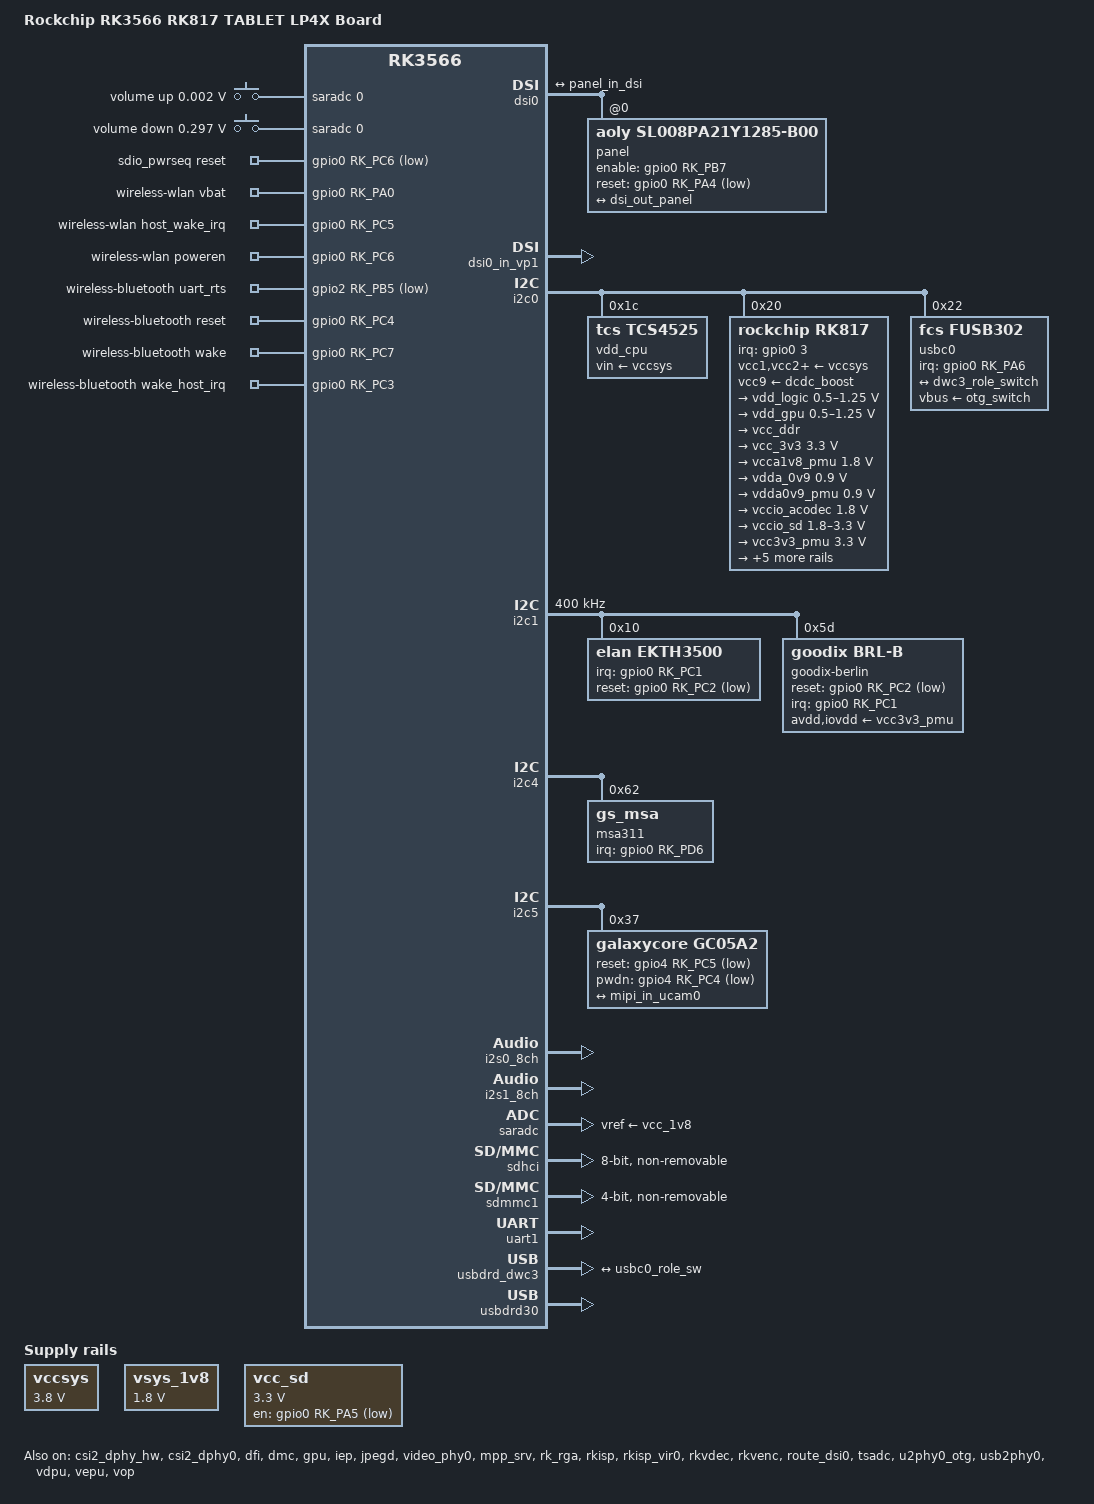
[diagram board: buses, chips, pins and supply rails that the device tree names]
// SPDX-License-Identifier: (GPL-2.0+ OR MIT)
/*
 * Copyright (c) 2020 Rockchip Electronics Co., Ltd.
 *
 */

/dts-v1/;

#include <dt-bindings/gpio/gpio.h>
#include <dt-bindings/pinctrl/rockchip.h>
#include <dt-bindings/input/rk-input.h>
#include <dt-bindings/sensor-dev.h>
#include <dt-bindings/display/drm_mipi_dsi.h>
#include <dt-bindings/usb/pd.h>
#include "rk3566.dtsi"
#include "rk3568-android.dtsi"

/ {
	model = "Rockchip RK3566 RK817 TABLET LP4X Board";
	compatible = "rockchip,rk3566-rk817-tablet", "rockchip,rk3566";

	adc_keys: adc-keys {
		compatible = "adc-keys";
		io-channels = <&saradc 0>;
		io-channel-names = "buttons";
		keyup-threshold-microvolt = <1800000>;
		poll-interval = <100>;

		vol-up-key {
			label = "volume up";
			linux,code = <KEY_VOLUMEUP>;
			press-threshold-microvolt = <1750>;
		};

		vol-down-key {
			label = "volume down";
			linux,code = <KEY_VOLUMEDOWN>;
			press-threshold-microvolt = <297500>;
		};
	};

	backlight: backlight {
	    status = "disabled"; 
		compatible = "pwm-backlight";
		pwms = <&pwm4 0 25000 0>;
		brightness-levels = <
			  0  20  20  21  21  22  22  23
			 23  24  24  25  25  26  26  27
			 27  28  28  29  29  30  30  31
			 31  32  32  33  33  34  34  35
			 35  36  36  37  37  38  38  39
			 40  41  42  43  44  45  46  47
			 48  49  50  50  51  52  53  54
			 55  55  56  57  58  59  60  61
			 62  63  64  64  65  65  66  67
			 68  69  70  71  71  72  73  74
			 75  76  77  78  79  79  80  81
			 82  83  84  85  86  86  87  88
			 89  90  91  92  93  94  94  95
			 96  97  98  99 100 101 101 102
			103 104 105 106 107 107 108 109
			110 111 112 113 114 115 115 116
			117 118 119 120 121 122 123 123
			124 125 126 127 128 129 130 130
			131 132 133 134 135 136 136 137
			138 139 140 141 142 143 143 144
			145 146 147 147 148 149 150 151
			152 153 154 155 156 156 157 158
			159 157 158 159 160 161 162 162
			163 164 165 166 167 168 169 169
			170 171 172 173 174 175 175 176
			177 178 179 180 181 182 182 183
			184 185 186 187 188 189 190 190
			191 192 193 194 195 196 197 197
			198 199 200 201 202 203 204 204
			205 206 207 208 209 209 210 211
			212 213 213 214 214 215 215 216
			216 217 217 218 218 219 219 220
		>;
		default-brightness-level = <200>;
	};
	charge-animation {
		compatible = "rockchip,uboot-charge";
		rockchip,uboot-charge-on = <0>;
		rockchip,android-charge-on = <1>;
		rockchip,uboot-exit-charge-auto = <1>;
		rockchip,uboot-low-power-voltage = <3430>;
		rockchip,uboot-exit-charge-level = <2>;
		status = "okay";
		};

	// flash_rgb13h: flash-rgb13h {
	// 	status = "disabled";
	// 	compatible = "led,rgb13h";
	// 	label = "gpio-flash";
	// 	pinctrl-names = "default";
	// 	pinctrl-0 = <&flash_led_gpios>;
	// 	led-max-microamp = <20000>;
	// 	flash-max-microamp = <20000>;
	// 	flash-max-timeout-us = <1000000>;
	// 	enable-gpio = <&gpio4 6 GPIO_ACTIVE_HIGH>;
	// 	rockchip,camera-module-index = <0>;
	// 	rockchip,camera-module-facing = "back";
	// };

	hdmi_sound: hdmi-sound {
		compatible = "simple-audio-card";
		simple-audio-card,format = "i2s";
		simple-audio-card,mclk-fs = <128>;
		simple-audio-card,name = "rockchip,hdmi";
		status = "disabled";

		simple-audio-card,cpu {
				sound-dai = <&i2s0_8ch>;
		};
		simple-audio-card,codec {
				sound-dai = <&hdmi>;
		};
	};

	vccsys: vccsys {
		compatible = "regulator-fixed";
		regulator-name = "vcc3v8_sys";
		regulator-always-on;
		regulator-boot-on;
		regulator-min-microvolt = <3800000>;
		regulator-max-microvolt = <3800000>;
	};
	
	vsys_1v8: vsys_1v8 {
		compatible = "regulator-fixed";
		regulator-name = "vcc3v8_sys";
		regulator-always-on;
		regulator-boot-on;
		regulator-min-microvolt = <1800000>;
		regulator-max-microvolt = <1800000>;
	};

	vcc_camera: vcc-camera-regulator {
		compatible = "regulator-fixed";
		gpio = <&gpio4 RK_PB1 GPIO_ACTIVE_HIGH>;
		pinctrl-names = "default";
		pinctrl-0 = <&camera_rst>;
		regulator-name = "vcc_camera";
		enable-active-high;
		regulator-always-on;
		regulator-boot-on;
		status = "disabled";
	};

	rk817-sound {
		compatible = "simple-audio-card";
		simple-audio-card,format = "i2s";
		simple-audio-card,name = "rockchip,rk817-codec";
		simple-audio-card,mclk-fs = <256>;

		simple-audio-card,cpu {
			sound-dai = <&i2s1_8ch>;
		};
		simple-audio-card,codec {
			sound-dai = <&rk817_codec>;
		};
	};

	rk_headset: rk-headset {
		compatible = "rockchip_headset";
		headset_gpio = <&gpio4 RK_PC4 GPIO_ACTIVE_LOW>;
		pinctrl-names = "default";
		pinctrl-0 = <&hp_det>;
		io-channels = <&saradc 2>;
		status = "disabled";
	};

	sdio_pwrseq: sdio-pwrseq {
		compatible = "mmc-pwrseq-simple";
		clocks = <&rk817 1>;
		clock-names = "ext_clock";
		pinctrl-names = "default";
		pinctrl-0 = <&wifi_enable_h>;

		/*
		 * On the module itself this is one of these (depending
		 * on the actual card populated):
		 * - SDIO_RESET_L_WL_REG_ON
		 * - PDN (power down when low)
		 */
		post-power-on-delay-ms = <200>;
		reset-gpios = <&gpio0 RK_PC6 GPIO_ACTIVE_LOW>;
	};

	vcc_sd: vcc-sd {
		compatible = "regulator-gpio";
		enable-active-low;
		enable-gpio = <&gpio0 RK_PA5 GPIO_ACTIVE_LOW>;
		regulator-min-microvolt = <3300000>;
		regulator-max-microvolt = <3300000>;
		pinctrl-names = "default";
		pinctrl-0 = <&vcc_sd_h>;
		regulator-name = "vcc_sd";
		states = <3300000 0x0
			3300000 0x1>;
	};

	wireless-wlan {
		compatible = "wlan-platdata";
		rockchip,grf = <&grf>;
		wifi_chip_type = "ap6256";
		pinctrl-names = "default";
		pinctrl-0 = <&wifi_host_wake_irq>;

		WIFI,vbat_gpio = <&gpio0 RK_PA0 GPIO_ACTIVE_HIGH>;
		WIFI,host_wake_irq = <&gpio0 RK_PC5 GPIO_ACTIVE_HIGH>;
		WIFI,poweren_gpio = <&gpio0 RK_PC6 GPIO_ACTIVE_HIGH>;

		//sdio_vref = <1800>;
		status = "okay";
	};

	wireless-bluetooth {
		compatible = "bluetooth-platdata";
		clocks = <&rk817 1>;
		clock-names = "ext_clock";
		wifi-bt-power-toggle;
		uart_rts_gpios = <&gpio2 RK_PB5 GPIO_ACTIVE_LOW>;
		pinctrl-names = "default", "rts_gpio";
		pinctrl-0 = <&uart1m0_rtsn>;
		pinctrl-1 = <&uart1_gpios>;
		BT,reset_gpio    = <&gpio0 RK_PC4 GPIO_ACTIVE_HIGH>;
		BT,wake_gpio     = <&gpio0 RK_PC7 GPIO_ACTIVE_HIGH>;
		BT,wake_host_irq = <&gpio0 RK_PC3 GPIO_ACTIVE_HIGH>;
		status = "okay";
	};
};

&bus_npu {
	bus-supply = <&vdd_logic>;
	pvtm-supply = <&vdd_cpu>;
	status = "disabled";
};

&cpu0 {
	cpu-supply = <&vdd_cpu>;
};

&csi2_dphy_hw {
	status = "okay";
};

&csi2_dphy0 {
	status = "okay";

	ports {
		#address-cells = <1>;
		#size-cells = <0>;
		port@0 {
			reg = <0>;
			#address-cells = <1>;
			#size-cells = <0>;

			mipi_in_ucam0: endpoint@0 {
				reg = <0>;
				remote-endpoint = <&gc2607_out>;
				data-lanes = <1 2>;
			};

			// mipi_in_ucam1: endpoint@1 {
			// 	reg = <1>;
			// 	remote-endpoint = <&ov8858_out>;
			// 	data-lanes = <1 2 3 4>;
			// };
		};
		port@1 {
			reg = <1>;
			#address-cells = <1>;
			#size-cells = <0>;

			csidphy0_out: endpoint@0 {
				reg = <0>;
				remote-endpoint = <&isp0_in>;
			};
		};
	};
};

&dfi {
	status = "okay";
};

&dmc {
	center-supply = <&vdd_logic>;
	status = "okay";
};

&dsi0 {
		status = "okay";
	//rockchip,lane-rate = <1000>;
	panel@0 {
		compatible = "aoly,sl008pa21y1285-b00", "simple-panel-dsi";
		reg = <0>;

		//backlight = <&backlight>;
		//power-supply=<&vcc_3v3>;
		
		enable-gpios = <&gpio0 RK_PB7 GPIO_ACTIVE_HIGH>;
		reset-gpios = <&gpio0 RK_PA4 GPIO_ACTIVE_LOW>;

		pinctrl-names = "default";
		pinctrl-0 = <&lcd_enable_gpio>, <&lcd_rst_gpio>;

		prepare-delay-ms = <120>;
		reset-delay-ms = <250>;
		init-delay-ms = <10>;
		stbyb-delay-ms = <120>;
		enable-delay-ms = <120>;
		disable-delay-ms = <120>;
		unprepare-delay-ms = <120>;

		width-mm = <229>;
		height-mm = <143>;

		dsi,flags = <(MIPI_DSI_MODE_VIDEO | MIPI_DSI_MODE_VIDEO_BURST |
			      MIPI_DSI_MODE_LPM | MIPI_DSI_MODE_EOT_PACKET)>;
		dsi,format = <MIPI_DSI_FMT_RGB888>;
		dsi,lanes = <4>;
		panel-init-sequence = [
		39 00 04 FF 98 81 03
		39 00 02 01 00
		39 00 02 02 00
		39 00 02 03 54
		39 00 02 04 14
		39 00 02 05 D4
		39 00 02 06 08
		39 00 02 07 01
		39 00 02 08 0E
		39 00 02 09 00
		39 00 02 0A 00
		39 00 02 0B 00
		39 00 02 0C 00
		39 00 02 0D 00
		39 00 02 0E 00
		39 00 02 0F 00
		39 00 02 10 00
		39 00 02 11 00
		39 00 02 12 00
		39 00 02 13 00
		39 00 02 14 00
		39 00 02 15 00
		39 00 02 16 00
		39 00 02 17 00
		39 00 02 18 00
		39 00 02 19 00
		39 00 02 1A 00
		39 00 02 1B 00
		39 00 02 1C 00
		39 00 02 1D 00
		39 00 02 1E 44
		39 00 02 1F 80
		39 00 02 20 03
		39 00 02 21 04
		39 00 02 22 00
		39 00 02 23 00
		39 00 02 24 00
		39 00 02 25 00
		39 00 02 26 00
		39 00 02 27 00
		39 00 02 28 77
		39 00 02 29 04
		39 00 02 2A 00
		39 00 02 2B 00
		39 00 02 2C 00
		39 00 02 2D 00
		39 00 02 2E 00
		39 00 02 2F 00
		39 00 02 30 00
		39 00 02 31 00
		39 00 02 32 00
		39 00 02 33 00
		39 00 02 34 04
		39 00 02 35 00
		39 00 02 36 00
		39 00 02 37 00
		39 00 02 38 3C
		39 00 02 39 00
		39 00 02 3A 40
		39 00 02 3B 40
		39 00 02 3C 00
		39 00 02 3D 00
		39 00 02 3E 00
		39 00 02 3F 00
		39 00 02 40 00
		39 00 02 41 00
		39 00 02 42 00
		39 00 02 43 00
		39 00 02 44 00
		39 00 02 50 01
		39 00 02 51 23
		39 00 02 52 45
		39 00 02 53 67
		39 00 02 54 89
		39 00 02 55 AB
		39 00 02 56 01
		39 00 02 57 23
		39 00 02 58 45
		39 00 02 59 67
		39 00 02 5A 89
		39 00 02 5B AB
		39 00 02 5C CD
		39 00 02 5D EF
		39 00 02 5E 11
		39 00 02 5F 01
		39 00 02 60 00
		39 00 02 61 08
		39 00 02 62 0A
		39 00 02 63 15
		39 00 02 64 14
		39 00 02 65 0C
		39 00 02 66 0D
		39 00 02 67 0E
		39 00 02 68 0F
		39 00 02 69 10
		39 00 02 6A 11
		39 00 02 6B 12
		39 00 02 6C 13
		39 00 02 6D 06
		39 00 02 6E 02
		39 00 02 6F 02
		39 00 02 70 02
		39 00 02 71 02
		39 00 02 72 02
		39 00 02 73 02
		39 00 02 74 02
		39 00 02 75 01
		39 00 02 76 00
		39 00 02 77 06
		39 00 02 78 0A
		39 00 02 79 15
		39 00 02 7A 14
		39 00 02 7B 0C
		39 00 02 7C 0D
		39 00 02 7D 0E
		39 00 02 7E 0F
		39 00 02 7F 10
		39 00 02 80 11
		39 00 02 81 12
		39 00 02 82 13
		39 00 02 83 08
		39 00 02 84 02
		39 00 02 85 02
		39 00 02 86 02
		39 00 02 87 02
		39 00 02 88 02
		39 00 02 89 02
		39 00 02 8A 02
		39 00 04 FF 98 81 04
		39 00 02 6C 15
		39 00 02 6E 3B
		39 00 02 6F 33
		39 00 02 3A 24
		39 00 02 8D 14
		39 00 02 87 BA
		39 00 02 26 76
		39 00 02 B2 D1
		39 00 02 B5 27
		39 00 02 31 75
		39 00 02 30 03
		39 00 02 3B 98
		39 00 02 35 1F
		39 00 02 33 14
		39 00 02 7A 0F
		39 00 02 38 02
		39 00 02 39 00
		39 00 02 7A 10
		39 00 04 FF 98 81 01
		39 00 02 22 0E
		39 00 02 2E 88
		39 00 02 31 00
		39 00 02 52 00
		39 00 02 53 1A
		39 00 02 54 00
		39 00 02 55 1A
		39 00 02 50 42
		39 00 02 51 42
		39 00 02 60 1F
		39 00 02 63 00
		39 00 02 A0 08
		39 00 02 A1 20
		39 00 02 A2 26
		39 00 02 A3 10
		39 00 02 A4 10
		39 00 02 A5 16
		39 00 02 A6 10
		39 00 02 A7 16
		39 00 02 A8 60
		39 00 02 A9 1C
		39 00 02 AA 26
		39 00 02 AB 61
		39 00 02 AC 28
		39 00 02 AD 24
		39 00 02 AE 52
		39 00 02 AF 27
		39 00 02 B0 2B
		39 00 02 B1 36
		39 00 02 B2 63
		39 00 02 B3 39
		39 00 02 C0 08
		39 00 02 C1 20
		39 00 02 C2 26
		39 00 02 C3 10
		39 00 02 C4 10
		39 00 02 C5 16
		39 00 02 C6 10
		39 00 02 C7 16
		39 00 02 C8 60
		39 00 02 C9 1C
		39 00 02 CA 26
		39 00 02 CB 61
		39 00 02 CC 28
		39 00 02 CD 24
		39 00 02 CE 52
		39 00 02 CF 27
		39 00 02 D0 2B
		39 00 02 D1 36
		39 00 02 D2 63
		39 00 02 D3 39
		39 00 04 FF 98 81 00
		15 78 02 11 00 
		15 32 02 29 00 
		15 00 02 35 00 
		];
		panel-exit-sequence = [
			05 dc 01 28
			05 78 01 10
		];

		display-timings {
			native-mode = <&timing0>;

			timing0: timing0 {
				clock-frequency = <65000000>;
				hactive = <768>;   
				vactive = <1024>;

				hsync-len = <4>;
				hback-porch = <120>;
				hfront-porch = <120>;

				vsync-len = <4>;
				vback-porch = <30>;
				vfront-porch = <20>;

				hsync-active = <0>;
				vsync-active = <0>;
				de-active = <0>;
				pixelclk-active = <0>;
			};
		};

		ports {
			#address-cells = <1>;
			#size-cells = <0>;

			port@0 {
				reg = <0>;
				panel_in_dsi: endpoint {
					remote-endpoint = <&dsi_out_panel>;
				};
			};
		};
	};

	ports {
		#address-cells = <1>;
		#size-cells = <0>;

		port@1 {
			reg = <1>;
			dsi_out_panel: endpoint {
				remote-endpoint = <&panel_in_dsi>;
			};
		};
	};

};

&dsi0_in_vp0 {
	status = "disabled";
};

&dsi0_in_vp1 {
	status = "okay";
};

&gpu {
	mali-supply = <&vdd_gpu>;
	status = "okay";
};

&hdmi {
	status = "disabled";
};

&hdmi_in_vp0 {
	status = "disabled";
};

&hdmi_in_vp1 {
	status = "disabled";
};

&hdmi_sound {
	status = "disabled";
};

&i2c0 {
	status = "okay";

	vdd_cpu: tcs4525@1c {
		compatible = "tcs,tcs4525";
		reg = <0x1c>;
		vin-supply = <&vccsys>;
		regulator-compatible = "fan53555-reg";
		regulator-name = "vdd_cpu";
		regulator-min-microvolt = <712500>;
		regulator-max-microvolt = <1250000>;
		regulator-init-microvolt = <800000>;
		regulator-ramp-delay = <2300>;
		fcs,suspend-voltage-selector = <1>;
		regulator-boot-on;
		regulator-always-on;
		regulator-state-mem {
			regulator-off-in-suspend;
		};
	};

	rk817: pmic@20 {
		compatible = "rockchip,rk817";
		reg = <0x20>;
		interrupt-parent = <&gpio0>;
		interrupts = <3 IRQ_TYPE_LEVEL_LOW>;
		pinctrl-names = "default";/*, "pmic-sleep",
				"pmic-power-off", "pmic-reset";*/
		pinctrl-0 = <&pmic_int>;
		pinctrl-1 = <&soc_slppin_slp>, <&rk817_slppin_slp>;
		pinctrl-2 = <&soc_slppin_gpio>, <&rk817_slppin_pwrdn>;
		pinctrl-3 = <&soc_slppin_gpio>, <&rk817_slppin_rst>;
		rockchip,system-power-controller;
		wakeup-source;
		#clock-cells = <1>;
		clock-output-names = "rk808-clkout1", "rk808-clkout2";
		//fb-inner-reg-idxs = <2>;
		/* 1: rst regs (default in codes), 0: rst the pmic */
		pmic-reset-func = <1>;
		/* not save the PMIC_POWER_EN register in uboot */
		not-save-power-en = <1>;
		vcc1-supply = <&vccsys>;
		vcc2-supply = <&vccsys>;
		vcc3-supply = <&vccsys>;
		vcc4-supply = <&vccsys>;
		vcc5-supply = <&vccsys>;
		vcc6-supply = <&vccsys>;
		vcc7-supply = <&vccsys>;
		vcc8-supply = <&vccsys>;
		vcc9-supply = <&dcdc_boost>;

		pwrkey {
			status = "okay";
		};

		pinctrl_rk8xx: pinctrl_rk8xx {
			gpio-controller;
			#gpio-cells = <2>;

			rk817_slppin_null: rk817_slppin_null {
				pins = "gpio_slp";
				function = "pin_fun0";
			};

			rk817_slppin_slp: rk817_slppin_slp {
				pins = "gpio_slp";
				function = "pin_fun1";
			};

			rk817_slppin_pwrdn: rk817_slppin_pwrdn {
				pins = "gpio_slp";
				function = "pin_fun2";
			};

			rk817_slppin_rst: rk817_slppin_rst {
				pins = "gpio_slp";
				function = "pin_fun3";
			};
		};

		regulators {
			vdd_logic: DCDC_REG1 {
				regulator-always-on;
				regulator-boot-on;
				regulator-min-microvolt = <500000>;
				regulator-max-microvolt = <1250000>;
				regulator-init-microvolt = <800000>;
				regulator-ramp-delay = <6001>;
				regulator-initial-mode = <0x2>;
				regulator-name = "vdd_logic";
				regulator-state-mem {
					regulator-off-in-suspend;
					regulator-suspend-microvolt = <900000>;
				};
			};

			vdd_gpu: DCDC_REG2 {
				regulator-always-on;
				regulator-boot-on;
				regulator-min-microvolt = <500000>;
				regulator-max-microvolt = <1250000>;
				regulator-init-microvolt = <800000>;
				regulator-ramp-delay = <6001>;
				regulator-initial-mode = <0x2>;
				regulator-name = "vdd_gpu";
				regulator-state-mem {
					regulator-off-in-suspend;
				};
			};

			vcc_ddr: DCDC_REG3 {
				regulator-always-on;
				regulator-boot-on;
				regulator-initial-mode = <0x2>;
				regulator-name = "vcc_ddr";
				regulator-state-mem {
					regulator-on-in-suspend;
				};
			};

			vcc_3v3: DCDC_REG4 {
				regulator-always-on;
				regulator-boot-on;
				regulator-min-microvolt = <3300000>;
				regulator-max-microvolt = <3300000>;
				regulator-initial-mode = <0x2>;
				regulator-name = "vcc_3v3";
				regulator-state-mem {
					regulator-on-in-suspend;
					regulator-suspend-microvolt = <3300000>;
				};
			};

			vcca1v8_pmu: LDO_REG1 {
				regulator-always-on;
				regulator-boot-on;
				regulator-min-microvolt = <1800000>;
				regulator-max-microvolt = <1800000>;
				regulator-name = "vcca1v8_pmu";
				regulator-state-mem {
					regulator-on-in-suspend;
					regulator-suspend-microvolt = <1800000>;
				};
			};

			vdda_0v9: LDO_REG2 {
				regulator-always-on;
				regulator-boot-on;
				regulator-min-microvolt = <900000>;
				regulator-max-microvolt = <900000>;
				regulator-name = "vdda_0v9";
				regulator-state-mem {
					regulator-off-in-suspend;
				};
			};

			vdda0v9_pmu: LDO_REG3 {
				regulator-always-on;
				regulator-boot-on;
				regulator-min-microvolt = <900000>;
				regulator-max-microvolt = <900000>;
				regulator-name = "vdda0v9_pmu";
				regulator-state-mem {
					regulator-on-in-suspend;
					regulator-suspend-microvolt = <900000>;
				};
			};

			vccio_acodec: LDO_REG4 {
				regulator-always-on;
				regulator-boot-on;
				regulator-min-microvolt = <1800000>;
				regulator-max-microvolt = <1800000>;
				regulator-name = "vccio_acodec";
				regulator-state-mem {
					regulator-off-in-suspend;
				};
			};

			vccio_sd: LDO_REG5 {
				regulator-always-on;
				regulator-boot-on;
				regulator-min-microvolt = <1800000>;
				regulator-max-microvolt = <3300000>;
				regulator-name = "vccio_sd";
				regulator-state-mem {
					regulator-off-in-suspend;
				};
			};

			vcc3v3_pmu: LDO_REG6 {
				regulator-always-on;
				regulator-boot-on;
				regulator-min-microvolt = <3300000>;
				regulator-max-microvolt = <3300000>;
				regulator-name = "vcc3v3_pmu";
				regulator-state-mem {
					regulator-on-in-suspend;
					regulator-suspend-microvolt = <3000000>;
				};
			};

			vcc_1v8: LDO_REG7 {
				regulator-always-on;
				regulator-boot-on;
				regulator-min-microvolt = <1800000>;
				regulator-max-microvolt = <1800000>;
				regulator-name = "vcc_1v8";
				regulator-state-mem {
					regulator-off-in-suspend;
				};
			};

			vcc1v8_dvp: LDO_REG8 {
				regulator-always-on;
				regulator-boot-on;
				regulator-min-microvolt = <1800000>;
				regulator-max-microvolt = <1800000>;
				regulator-name = "vcc1v8_dvp";
				regulator-state-mem {
					regulator-off-in-suspend;
				};
			};

			vcc2v8_dvp: LDO_REG9 {
				regulator-always-on;
				regulator-boot-on;
				regulator-min-microvolt = <2800000>;
				regulator-max-microvolt = <2800000>;
				regulator-name = "vcc2v8_dvp";
				regulator-state-mem {
					regulator-off-in-suspend;
				};
			};

			dcdc_boost: BOOST {
				regulator-always-on;
				regulator-boot-on;
				regulator-min-microvolt = <5000000>;
				regulator-max-microvolt = <5000000>;
				regulator-name = "boost";
				regulator-state-mem {
					regulator-off-in-suspend;
				};
			};

			otg_switch: OTG_SWITCH {
				regulator-name = "otg_switch";
				regulator-state-mem {
					regulator-off-in-suspend;
				};
			};
		};

		battery {
                        compatible = "rk817,battery";
                        /*ocv_table = <3400 3658 3677 3702 3729 3748 3763
                                     3777 3792 3810 3834 3869 3914 3955
                                     3988 4052 4093 4145 4199 4257 4327>;*/
									 
						ocv_table = <3400 3596 3667 3709 3733 3750 3760
									 3770 3784 3803 3828 3866 3914 3955
									 3996 4045 4083 4136 4199 4267 4359>;

									 
                        design_capacity = <3100>;
                        design_qmax = <3179>;
                        bat_res = <193>;
                        sleep_enter_current = <300>;
                        sleep_exit_current = <300>;
                        sleep_filter_current = <100>;
                        power_off_thresd = <3400>;
                        zero_algorithm_vol = <3950>;
                        max_soc_offset = <60>;
                        monitor_sec = <5>;
                        sample_res = <10>;
                        virtual_power = <0>;
						ntc_table = <68236 64990 61919 59011 56257 53649 51177 48834 46613 44505 42506 40599 38790 37072 35441 33892 32419 31020 29689 
									 28423 27218 26076 24987 23950 22962 22021 21123 20266 19449 18669 17925 17213 16534 15885 15265 14673 14107 13566 
									 13048 12554 12080 11628 11194 10779 10381 10000  9634  9283  8947 8624  8314  8018  7733  7460  7199  6947  6706 
									  6475  6252  6039  5833  5635  5445  5262  5086  4916  4753  4597  4446  4300  4160  4026  3896  3771  3651  3535 
									  3423  3315  3211  3111  3014	2922 2833	2748  2665  2586  2509  2435  2363  2294  2227
									 >;
						ntc_degree_from = <1 20>;
						temperature_chrg_table_v2 = <(-20) 10 850 4300>, <22 33 1000 4300>, <43 70 0 0>; 
                };


		charger {
			compatible = "rk817,charger";
			min_input_voltage = <4500>;
			max_input_current = <1500>;
			max_chrg_current = <2000>;
			max_chrg_voltage = <4400>;//4400
			chrg_term_mode = <0>;
			chrg_finish_cur = <300>;
			virtual_power = <0>;
			dc_det_adc = <0>;
			extcon = <&usb2phy0>;
			gate_function_disable = <1>;
		};

		rk817_codec: codec {
			#sound-dai-cells = <0>;
			compatible = "rockchip,rk817-codec";
			clocks = <&cru I2S1_MCLKOUT>;
			clock-names = "mclk";
			assigned-clocks = <&cru I2S1_MCLKOUT>, <&cru I2S1_MCLK_TX_IOE>;
			assigned-clock-rates = <12288000>;
			assigned-clock-parents = <&cru I2S1_MCLKOUT_TX>, <&cru I2S1_MCLKOUT_TX>;
			pinctrl-names = "default";
			pinctrl-0 = <&i2s1m0_mclk>;
			hp-volume = <20>;
			spk-volume = <3>;
			mic-in-differential;
			out-l2spk-r2hp;
			//spk-ctl-gpios = <&gpio0 RK_PA6 GPIO_ACTIVE_HIGH>;
			status = "okay";
		};
	};
	
	usbc0: fusb302@22 {
        compatible = "fcs,fusb302";
        reg = <0x22>;
        interrupt-parent = <&gpio0>; 
        interrupts = <RK_PA6 IRQ_TYPE_LEVEL_LOW>;
        pinctrl-names = "default";
        pinctrl-0 = <&fusb0_int>;
        vbus-supply = <&otg_switch>;
        status = "okay";
        ports {
            #address-cells = <1>;
            #size-cells = <0>;
            port@0 {
                reg = <0>;
                usbc0_role_sw: endpoint@0 {
                    remote-endpoint = <&dwc3_role_switch>;
                };
            };
        };

		usb_con: connector { /* 用于描述 PD 协议相关信息 */
			compatible = "usb-c-connector";
			label = "USB-C";
			data-role = "dual";
			power-role = "dual";
			try-power-role = "sink";
			op-sink-microwatt = <1000000>;
			sink-pdos =
				<PDO_FIXED(5000, 2500, PDO_FIXED_USB_COMM)>;
			source-pdos =
				<PDO_FIXED(5000, 1500, PDO_FIXED_USB_COMM)>;

		};
    };

};

&i2c1 {
		status = "okay";

		clock-frequency = <400000>;
		// 1020 old
		ft5436: focaltech@38 {
			status = "disabled";
			compatible = "focaltech,fts";
			reg = <0x38>;
			pinctrl-names = "default";
			pinctrl-0 = <&tp_gpio>;
			focaltech,reset-gpio = <&gpio0 RK_PC2 GPIO_ACTIVE_HIGH>;
			interrupt-parent = <&gpio0>;
			interrupts = <RK_PC1 IRQ_TYPE_EDGE_FALLING>;
			focaltech,irq-gpio = <&gpio0 RK_PC1 GPIO_ACTIVE_LOW>;

			focaltech,max-touch-number = <10>;			
			focaltech,display-coords =  <0 0 1200 1600>;
			wakeup-source;
	};
		// 1020 new
	    elan@10 {
			compatible = "elan,ekth3500";
			status = "okay";
			reg = <0x10>;
			//interrupt-parent = <&tlmm>;
			//interrupts = <125 0x2008>;
			pinctrl-names = "default";
			pinctrl-0 = <&tp_gpio>;
			elan,irq-gpio = <&gpio0 RK_PC1 IRQ_TYPE_LEVEL_LOW>;
			elan,reset-gpio = <&gpio0 RK_PC2 GPIO_ACTIVE_LOW>; //0x00: ACTIVE_HIGH 0x01: ACTIVE_LOW
		};

		goodix-berlin@5d {
			status = "okay";
			compatible = "goodix,brl-b";
			goodix,avdd-name = "avdd";
			avdd-supply = <&vcc3v3_pmu>;
			goodix,iovdd-name = "iovdd";
			iovdd-supply = <&vcc3v3_pmu>;

			reg = <0x5d>;
			goodix,reset-gpio = <&gpio0 RK_PC2 GPIO_ACTIVE_LOW>;
			goodix,irq-gpio = <&gpio0 RK_PC1 IRQ_TYPE_LEVEL_LOW>;
			goodix,irq-flags = <2>; /* 1:trigger rising, 2:trigger falling;*/
			goodix,panel-max-x = <7680>;
			goodix,panel-max-y = <10240>;
			goodix,panel-max-w = <255>;

			/* optional properties */
			goodix,panel-max-p = <4096>; /* max pressure that pen device supported */
			goodix,pen-enable; /* support active stylus device */
			goodix.sleep-enable; /* enter sleep mode */
			goodix,firmware-name = "goodix_firmware.bin";
			goodix,config-name = "goodix_cfg_group_78.bin";
			};
};


&i2c3 {
	status = "disabled";
	pinctrl-names = "default";
	pinctrl-0 = <&i2c3m1_xfer>;
	clock-frequency = <400000>;
	i2c-scl-rising-time-ns = <138>;
	i2c-scl-falling-time-ns = <4>;
		// 1020 old
		emright_i2c: emright_i2c@37 {
       		status = "disabled";
       		//i2c-scl-rising-time-ns = <450>;
			//i2c-scl-falling-time-ns = <15>;
			compatible = "emright_i2c";
			reg = <0x37>;
			screen_max_x = <32768>;
			screen_max_y = <32768>;
			touch-gpio = <&gpio0 RK_PB6 IRQ_TYPE_EDGE_FALLING>;
			reset-gpio = <&gpio0 RK_PC0 GPIO_ACTIVE_LOW>;
       };
};

&i2c4 {
	status = "okay";
	pinctrl-names = "default";
	pinctrl-0 = <&i2c4m1_xfer>;
	msa311@62 {
        status = "okay";
        compatible = "gs_msa";
        reg = <0x62>;
        irq-gpio = <&gpio0 RK_PD6 IRQ_TYPE_EDGE_RISING>;
		layout = <1>; //1020 old: 7 1020 new:4
        irq_enable = <0>;
        type = <2>;
        poll_delay_ms = <30>;
    };

};

&i2c5 {
	status = "okay";
	pinctrl-names = "default";
	pinctrl-0 = <&i2c5m1_xfer>;

	// dw9714: dw9714@c {
	// 	compatible = "dongwoon,dw9714";
	// 	status = "disabled";
	// 	reg = <0x0c>;
	// 	rockchip,camera-module-index = <0>;
	// 	rockchip,vcm-start-current = <10>;
	// 	rockchip,vcm-rated-current = <85>;
	// 	rockchip,vcm-step-mode = <5>;
	// 	rockchip,camera-module-facing = "back";
	// };

	gc05a2: gc05a2@37 {
		status = "okay";
		compatible = "galaxycore,gc05a2";
		reg = <0x37>;
		
		clocks = <&cru CLK_CAM0_OUT>; //CLK_CIF_OUT  CLK_CAM0_OUT
		clock-names = "xvclk";
		power-domains = <&power RK3568_PD_VI>;

		pinctrl-names = "rockchip,camera_default";
		pinctrl-0 = <&cam_clkout0>;
		pinctrl-1 = <&cam_sleep>;

		reset-gpios = <&gpio4 RK_PC5 GPIO_ACTIVE_LOW>;
		pwdn-gpios = <&gpio4 RK_PC4 GPIO_ACTIVE_LOW>;
		rockchip,camera-module-index = <0>;
		rockchip,camera-module-facing = "front";
		rockchip,camera-module-name = "default";
		rockchip,camera-module-lens-name = "default";
		port {
			gc2607_out: endpoint {
				remote-endpoint = <&mipi_in_ucam0>;
				data-lanes = <1 2>;
			};
		};
	};


	// ov8858: ov8858@36 {
	// 	status = "okay";
	// 	compatible = "ovti,ov8858";
	// 	reg = <0x36>;
	// 	clocks = <&cru CLK_CAM0_OUT>;
	// 	clock-names = "xvclk";
	// 	power-domains = <&power RK3568_PD_VI>;
	// 	pinctrl-names = "rockchip,camera_default", "rockchip,camera_sleep";
	// 	pinctrl-0 = <&cam_clkout0>;
	// 	pinctrl-1 = <&cam_sleep>;
	// 	//reset pin control by hardware,used this pin switch to mipi input
	// 	//1->2LANE(LANE 0&1) FRONT camera, 0->4LANE REAR camera
	// 	reset-gpios = <&gpio4 RK_PC5 GPIO_ACTIVE_HIGH>;
	// 	pwdn-gpios = <&gpio4 RK_PC4 GPIO_ACTIVE_HIGH>;
	// 	rockchip,camera-module-index = <1>;
	// 	rockchip,camera-module-facing = "back";
	// 	rockchip,camera-module-name = "HS5885-BNSM1018-V01";//HS5885-BNSM1018-V01
	// 	rockchip,camera-module-lens-name = "default";
	// 	//flash-leds = <&flash_rgb13h>;
	// 	lens-focus = <&dw9714>;
	// 	port {
	// 		ov8858_out: endpoint {
	// 			remote-endpoint = <&mipi_in_ucam1>;
	// 			data-lanes = <1 2 3 4>;
	// 		};
	// 	};
	// };



};

&i2s0_8ch {
	status = "okay";
};

&i2s1_8ch {
	status = "okay";
	rockchip,clk-trcm = <1>;
	pinctrl-names = "default";
	pinctrl-0 = <&i2s1m0_sclktx
		     &i2s1m0_lrcktx
		     &i2s1m0_sdi0
		     &i2s1m0_sdo0>;
};

&iep {
	status = "okay";
};

&iep_mmu {
	status = "okay";
};

&jpegd {
	status = "okay";
};

&jpegd_mmu {
	status = "okay";
};

&video_phy0 {
	status = "okay";
};

&mpp_srv {
	status = "okay";
};

&nandc0 {
	status = "disabled";
};

&pinctrl {
	cam {
		cam_clkout0: cam-clkout0 {
			rockchip,pins =
				/* cam_clkout0 */
				<4 RK_PA7 1 &pcfg_pull_none>;
		};

		cam_sleep: cam-sleep {
			rockchip,pins =
				/* cam_sleep */
				<4 RK_PA7 RK_FUNC_GPIO &pcfg_pull_none>;
		};

		camera_rst: camera-rst {
			rockchip,pins =
				/* front camera reset */
				<4 RK_PB0 RK_FUNC_GPIO &pcfg_pull_none>,
				/* back camra reset */
				<4 RK_PB1 RK_FUNC_GPIO &pcfg_pull_none>;
		};

		flash_led_gpios: flash-led {
			rockchip,pins =
				/* flash led enable */
				<4 RK_PA6 RK_FUNC_GPIO &pcfg_pull_none>;
		};
	};

	tp {
		tp_gpio: tp-gpio {
			rockchip,pins =
				<0 RK_PC2 RK_FUNC_GPIO &pcfg_pull_up>,
				<0 RK_PC1 RK_FUNC_GPIO &pcfg_pull_up>;
		};
	};

	elan {
		tlmm: tlmm {
			rockchip,pins =
				<0 RK_PC1 RK_FUNC_GPIO &pcfg_pull_up>;
		};
	};

	headphone {
		hp_det: hp-det {
			rockchip,pins = <4 RK_PC4 RK_FUNC_GPIO &pcfg_pull_down>;
		};
	};

	lcd {
		lcd_rst_gpio: lcd-rst-gpio {
			rockchip,pins = <0 RK_PA4 RK_FUNC_GPIO &pcfg_pull_none>;
		};

		lcd_enable_gpio: lcd-enable-gpio {
			rockchip,pins = <0 RK_PB7 RK_FUNC_GPIO &pcfg_pull_none>;
		};

	};

	pmic {
		pmic_int: pmic_int {
			rockchip,pins =
				<0 RK_PA3 RK_FUNC_GPIO &pcfg_pull_up>;
		};

		soc_slppin_gpio: soc_slppin_gpio {
			rockchip,pins =
				<0 RK_PA2 RK_FUNC_GPIO &pcfg_output_low>;
		};

		soc_slppin_slp: soc_slppin_slp {
			rockchip,pins =
				<0 RK_PA2 1 &pcfg_pull_none>;
		};

		soc_slppin_rst: soc_slppin_rst {
			rockchip,pins =
				<0 RK_PA2 2 &pcfg_pull_none>;
		};
	};

	sensor {
		sensor_gpio: sensor-gpio {
			rockchip,pins = <3 RK_PA2 RK_FUNC_GPIO &pcfg_pull_none>;
		};
	};

	sdio-pwrseq {
		wifi_enable_h: wifi-enable-h {
			rockchip,pins = <0 RK_PC6 RK_FUNC_GPIO &pcfg_pull_none>;
		};
	};

	vcc_sd {
		vcc_sd_h: vcc-sd-h {
			rockchip,pins = <0 RK_PA5 RK_FUNC_GPIO &pcfg_pull_none>;
		};
	};

	wireless-wlan {
		wifi_vbat: wifi-vbat {
			rockchip,pins = <0 RK_PA7 RK_FUNC_GPIO &pcfg_pull_none>;
		};

		wifi_host_wake_irq: wifi-host-wake-irq {
			rockchip,pins = <0 RK_PC5 RK_FUNC_GPIO &pcfg_pull_up>;
		};

		//wifi_poweren_gpio: poweren-gpio {
		//	rockchip,pins = <0 RK_PA7 RK_FUNC_GPIO &pcfg_pull_none>;
		//};
	};

	wireless-bluetooth {
		uart1_gpios: uart1-gpios {
			rockchip,pins = <2 RK_PB5 RK_FUNC_GPIO &pcfg_pull_none>;
		};
	};

	fusb30x { // ���� FUSB302 �������жϺ� vbus gpio pinctrl 
			fusb0_int: fusb0-int {
				rockchip,pins = <0 RK_PA6 RK_FUNC_GPIO &pcfg_pull_up>;
				//<gpiox RK_Pxx RK_FUNC_GPIO &pcfg_pull_up>;
		};
	};

};

&pmu_io_domains {
	status = "okay";
	pmuio1-supply = <&vcc3v3_pmu>;
	pmuio2-supply = <&vcc3v3_pmu>;
	vccio1-supply = <&vccio_acodec>;
	vccio3-supply = <&vccio_sd>;
	vccio4-supply = <&vcc_1v8>;//vcca1v8_pmu
	vccio5-supply = <&vcc_3v3>;
	vccio6-supply = <&vcc_3v3>;
	vccio7-supply = <&vsys_1v8>;
};

&pwm4 {
	status = "disabled";
};

&rk_rga {
	status = "okay";
};

&rkisp {
	status = "okay";
};

&rkisp_mmu {
	status = "okay";
};

&rkisp_vir0 {
	status = "okay";

	port {
		#address-cells = <1>;
		#size-cells = <0>;

		isp0_in: endpoint@0 {
			reg = <0>;
			remote-endpoint = <&csidphy0_out>;
		};
	};
};

&rkvdec {
	status = "okay";
};

&rkvdec_mmu {
	status = "okay";
};

&rkvenc {
	status = "okay";
};

&rkvenc_mmu {
	status = "okay";
};

&route_dsi0 {
	status = "okay";
	connect = <&vp1_out_dsi0>;
};

&route_hdmi {
	status = "disabled";
	connect = <&vp0_out_hdmi>;
};

&saradc {
	status = "okay";
	vref-supply = <&vcc_1v8>;
};

&sdhci {
	bus-width = <8>;
	no-sdio;
	no-sd;
	non-removable;
	max-frequency = <200000000>;
	status = "okay";
};

&sdmmc0 {
	max-frequency = <150000000>;
	no-sdio;
	no-mmc;
	bus-width = <4>;
	cap-mmc-highspeed;
	cap-sd-highspeed;
	disable-wp;
	sd-uhs-sdr104;
	vmmc-supply = <&vcc_sd>;
	vqmmc-supply = <&vccio_sd>;
	pinctrl-names = "default";
	pinctrl-0 = <&sdmmc0_bus4 &sdmmc0_clk &sdmmc0_cmd &sdmmc0_det>;
	status = "disabled";
};

&sdmmc1 {
	max-frequency = <150000000>;
	no-sd;
	no-mmc;
	bus-width = <4>;
	disable-wp;
	cap-sd-highspeed;
	cap-sdio-irq;
	keep-power-in-suspend;
	mmc-pwrseq = <&sdio_pwrseq>;
	non-removable;
	pinctrl-names = "default";
	pinctrl-0 = <&sdmmc1_bus4 &sdmmc1_cmd &sdmmc1_clk>;
	sd-uhs-sdr104;
	rockchip,default-sample-phase = <90>;
	status = "okay";
};

&tsadc {
	status = "okay";
};

&uart1 {
	status = "okay";
	pinctrl-names = "default";
	pinctrl-0 = <&uart1m0_xfer &uart1m0_ctsn>;
};

&u2phy0_otg {
	status = "okay";
	rockchip,dis-u2-susphy;
};

&usb2phy0 {
	status = "okay";
};

&usbdrd_dwc3 {
	status = "okay";
	//snps,usb2-gadget-lpm-disable;
    //snps,usb2-lpm-disable;
	usb-role-switch; /* ����ʹ�� DWC3 ����ע�� USB Role Switch �ص����� */
    port {
        #address-cells = <1>;
        #size-cells = <0>;
        dwc3_role_switch: endpoint@0 {
            reg = <0>;
            remote-endpoint = <&usbc0_role_sw>; /* ���� FUSB302��ʵ��USB ��ɫ�л��Ĺ��� */
        };
    };
};

&usbdrd30 {
	status = "okay";
};

&vdpu {
	status = "okay";
};

&vdpu_mmu {
	status = "okay";
};

&vepu {
	status = "okay";
};

&vepu_mmu {
	status = "okay";
};

&vop {
	status = "okay";
	assigned-clocks = <&cru DCLK_VOP0>, <&cru DCLK_VOP1>;
	assigned-clock-parents = <&pmucru PLL_HPLL>, <&cru PLL_VPLL>;
};

&vop_mmu {
	status = "okay";
};
